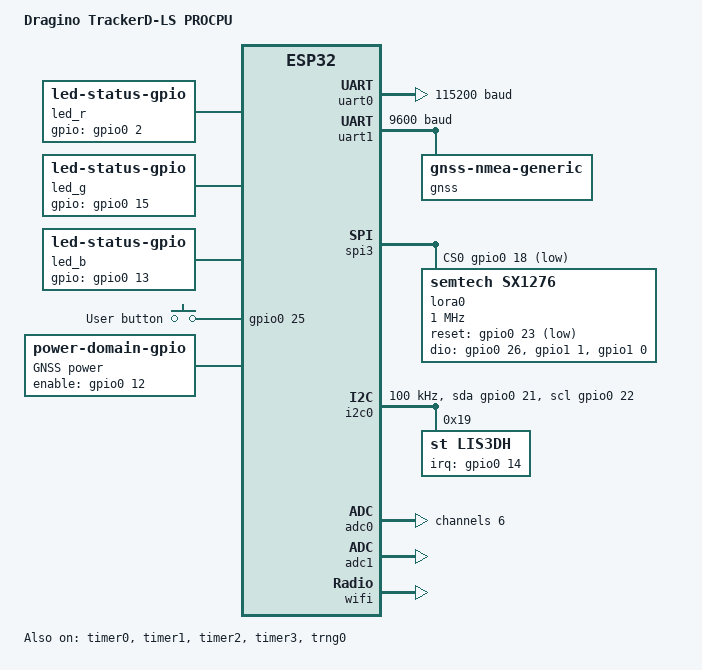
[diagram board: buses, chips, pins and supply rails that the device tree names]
/dts-v1/;

#include <espressif/esp32/esp32_pico_d4.dtsi>
#include "trackerd_ls-pinctrl.dtsi"
#include <zephyr/dt-bindings/input/input-event-codes.h>
#include "trackerd_ls_partitions_4m.dtsi"

/ {
	model = "Dragino TrackerD-LS PROCPU";
	compatible = "dragino,trackerd-ls", "lilygo,ttgo-lora32";

	aliases {
		led-r = &led_r;
		led-g = &led_g;
		led-b = &led_b;
		uart-console = &uart0;
		uart-gps = &uart1;
		i2c-0 = &i2c0;
		accel-0 = &lis3dh;
		watchdog0 = &wdt0;
		sdhc0 = &sdhc1;
		lora0 = &lora0;
		gnss = &gnss;
	};

	chosen {
		zephyr,sram = &sram1;
		zephyr,console = &uart0;
		zephyr,shell-uart = &uart0;
		zephyr,flash = &flash0;
		zephyr,code-partition = &slot0_partition;
		zephyr,sdhc = &sdhc1;
	};

	led_r: led_r {
		status = "okay";
		compatible = "led-status-gpio";
		gpios =  <&gpio0 2 GPIO_ACTIVE_HIGH>;
	};

	led_g: led_g {
		status = "okay";
		compatible = "led-status-gpio";
		gpios =  <&gpio0 15 GPIO_ACTIVE_HIGH>;
	};

	led_b: led_b {
		status = "okay";
		compatible = "led-status-gpio";
		gpios =  <&gpio0 13 GPIO_ACTIVE_HIGH>;
	};

	buttons {
		compatible = "gpio-keys";
		user_button: user_button {
			label = "User button";
			gpios = <&gpio0 25 GPIO_ACTIVE_HIGH>;
			zephyr,code = <INPUT_KEY_0>;
		};
	};

	gnss_reg: gnss_reg {
		label = "GNSS power";
		compatible = "power-domain-gpio";
		#power-domain-cells = <0>;
		enable-gpios = <&gpio0 12 GPIO_ACTIVE_HIGH>;
		startup-delay-us = <10>;
	};
};

&uart0 {
	status = "okay";
	current-speed = <115200>;
	pinctrl-0 = <&uart0_default>;
	pinctrl-names = "default";
};

&uart1 {
	status = "okay";
	current-speed = <9600>;
	pinctrl-0 = <&uart1_default>;
	pinctrl-names = "default";

	gnss: quectel-L76k {
		status = "okay";
		compatible = "gnss-nmea-generic";
		power-domains = <&gnss_reg>;
		//reset-gpios = <&gpio0 25 GPIO_ACTIVE_LOW>;
	};
};

&gpio0 {
	status = "okay";
};

&gpio1 {
	status = "okay";
};

&spi3 {
	#address-cells = <1>;
	#size-cells = <0>;
	status = "okay";
	pinctrl-0 = <&spim3_default>;
	pinctrl-names = "default";
	cs-gpios = <&gpio0 18 GPIO_ACTIVE_LOW>;
	lora0: lora@0 {
		compatible = "semtech,sx1276";
		reg = <0>;
		reset-gpios = <&gpio0 23 GPIO_ACTIVE_LOW>;
		dio-gpios =
			/* SX1276 D0 -> GPIO26 */
			<&gpio0 26 (GPIO_PULL_DOWN | GPIO_ACTIVE_HIGH)>,
			/* SX1276 D1 -> GPIO33 */
			<&gpio1 1 (GPIO_PULL_DOWN | GPIO_ACTIVE_HIGH)>,
			/* SX1276 D2 -> GPIO32 */
			<&gpio1 0 (GPIO_PULL_DOWN | GPIO_ACTIVE_HIGH)>;
		spi-max-frequency = <1000000>;
		power-amplifier-output = "pa-boost";
	};
};

&i2c0 {
	status = "okay";
	clock-frequency = <I2C_BITRATE_STANDARD>;
	sda-gpios = <&gpio0 21 GPIO_OPEN_DRAIN>;
	scl-gpios = <&gpio0 22 GPIO_OPEN_DRAIN>;
	pinctrl-0 = <&i2c0_default>;
	pinctrl-names = "default";
	lis3dh: lis3dh@19 {
		compatible = "st,lis3dh", "st,lis2dh";
		status = "okay";
		reg = <0x19>;
		irq-gpios = <&gpio0 14 GPIO_ACTIVE_HIGH>;
	};
};

&timer0 {
	status = "okay";
};

&timer1 {
	status = "okay";
};

&timer2 {
	status = "okay";
};

&timer3 {
	status = "okay";
};

&adc0 {
	status = "okay";
	#address-cells = <1>;
	#size-cells = <0>;

	channel@6 {
		reg = <6>;
		zephyr,gain = "ADC_GAIN_1_4";
		zephyr,reference = "ADC_REF_INTERNAL";
		zephyr,acquisition-time = <ADC_ACQ_TIME_DEFAULT>;
		zephyr,resolution = <12>;
	};

};

&adc1 {
	status = "okay";
};

&trng0 {
	status = "okay";
};

&wifi {
	status = "okay";
};
